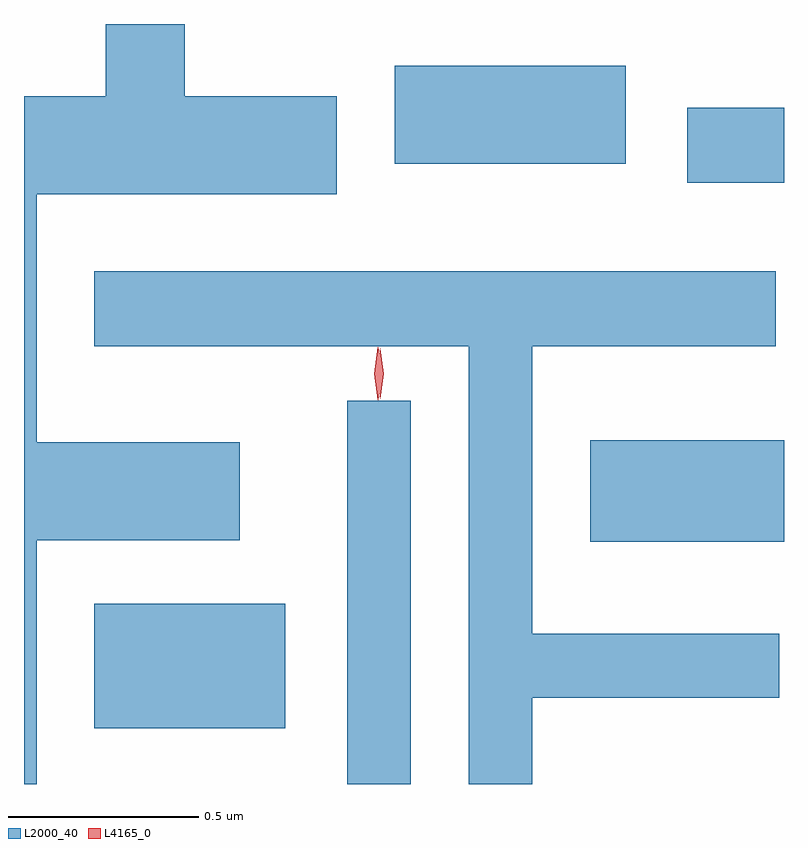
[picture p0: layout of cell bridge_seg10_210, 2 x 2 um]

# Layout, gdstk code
import gdstk
lib = gdstk.Library(unit=1e-6, precision=1e-09)
def R(c, l, rs):  # rectangles x0, y0, x1, y1
    for r in rs: c.add(gdstk.rectangle(r[:2], r[2:], *l))
def P(c, l, *ps):  # polygons
    for p in ps: c.add(gdstk.Polygon(p, *l))
L2000_40 = (2000, 40)
L4165_0 = (4165, 0)

bridge_seg10_210 = lib.new_cell('bridge_seg10_210')
R(bridge_seg10_210, L2000_40, [(1887.431,2141.164,1887.599,2142.173), (1886.766,2141.311,1887.269,2141.639), (1888.071,2141.801,1888.581,2142.069), (1888.326,2142.746,1888.581,2142.944), (1887.556,2142.796,1888.164,2143.054)])
P(bridge_seg10_210, L2000_40, [(1886.614,2141.806),(1887.149,2141.806),(1887.149,2142.064),(1886.614,2142.064),(1886.614,2142.716),(1887.404,2142.716),(1887.404,2142.974),(1887.004,2142.974),(1887.004,2143.164),(1886.796,2143.164),(1886.796,2142.974),(1886.581,2142.974),(1886.581,2141.164),(1886.614,2141.164)],
  [(1887.919,2141.391),(1888.568,2141.391),(1888.568,2141.559),(1887.919,2141.559),(1887.919,2142.316),(1888.559,2142.316),(1888.559,2142.514),(1886.766,2142.514),(1886.766,2142.316),(1887.751,2142.316),(1887.751,2141.164),(1887.919,2141.164)])
P(bridge_seg10_210, L4165_0, [(1887.518,2142.178),(1887.518,2142.178),(1887.508,2142.244),(1887.518,2142.31),(1887.519,2142.311),(1887.519,2142.31),(1887.528,2142.244),(1887.519,2142.178)],
  [(1887.513,2142.174),(1887.512,2142.175),(1887.503,2142.244),(1887.512,2142.313),(1887.513,2142.314),(1887.513,2142.313),(1887.523,2142.244),(1887.513,2142.175)])

lib.write_gds('bridge_seg10_210.gds')
